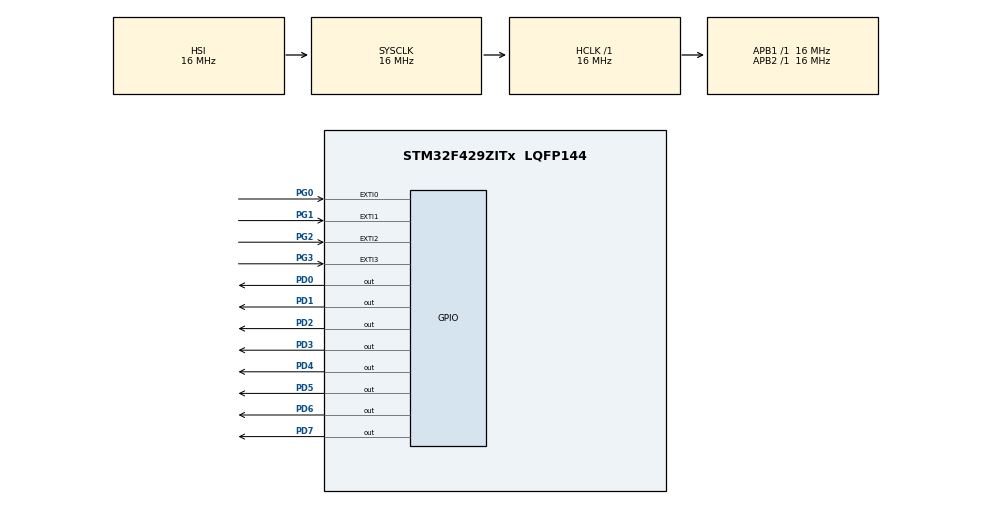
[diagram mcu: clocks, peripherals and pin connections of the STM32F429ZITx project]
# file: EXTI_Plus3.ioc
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Mcu.Family=STM32F4
Mcu.Name=STM32F429ZITx
Mcu.Package=LQFP144
NVIC.EXTI0_IRQn=true\:0\:0\:false\:false\:true\:true\:true\:true
NVIC.EXTI1_IRQn=true\:0\:0\:false\:false\:true\:true\:true\:true
NVIC.EXTI2_IRQn=true\:0\:0\:false\:false\:true\:true\:true\:true
NVIC.EXTI3_IRQn=true\:0\:0\:false\:false\:true\:true\:true\:true
NVIC.PriorityGroup=NVIC_PRIORITYGROUP_4
PA13.Mode=Serial_Wire
PA13.Signal=SYS_JTMS-SWDIO
PA14.Mode=Serial_Wire
PA14.Signal=SYS_JTCK-SWCLK
PD0.GPIO_ModeDefaultOutputPP=GPIO_MODE_OUTPUT_PP
PD0.GPIO_PuPd=GPIO_PULLUP
PD0.GPIO_Speed=GPIO_SPEED_FREQ_HIGH
PD0.PinState=GPIO_PIN_RESET
PD0.Signal=GPIO_Output
PD1.GPIO_ModeDefaultOutputPP=GPIO_MODE_OUTPUT_PP
PD1.GPIO_PuPd=GPIO_PULLUP
PD1.GPIO_Speed=GPIO_SPEED_FREQ_HIGH
PD1.PinState=GPIO_PIN_RESET
PD1.Signal=GPIO_Output
PD2.GPIO_ModeDefaultOutputPP=GPIO_MODE_OUTPUT_PP
PD2.GPIO_PuPd=GPIO_PULLUP
PD2.GPIO_Speed=GPIO_SPEED_FREQ_HIGH
PD2.PinState=GPIO_PIN_RESET
PD2.Signal=GPIO_Output
PD3.GPIO_ModeDefaultOutputPP=GPIO_MODE_OUTPUT_PP
PD3.GPIO_PuPd=GPIO_PULLUP
PD3.GPIO_Speed=GPIO_SPEED_FREQ_HIGH
PD3.PinState=GPIO_PIN_RESET
PD3.Signal=GPIO_Output
PD4.GPIO_ModeDefaultOutputPP=GPIO_MODE_OUTPUT_PP
PD4.GPIO_PuPd=GPIO_PULLUP
PD4.GPIO_Speed=GPIO_SPEED_FREQ_HIGH
PD4.PinState=GPIO_PIN_RESET
PD4.Signal=GPIO_Output
PD5.GPIO_ModeDefaultOutputPP=GPIO_MODE_OUTPUT_PP
PD5.GPIO_PuPd=GPIO_PULLUP
PD5.GPIO_Speed=GPIO_SPEED_FREQ_HIGH
PD5.PinState=GPIO_PIN_RESET
PD5.Signal=GPIO_Output
PD6.GPIO_ModeDefaultOutputPP=GPIO_MODE_OUTPUT_PP
PD6.GPIO_PuPd=GPIO_PULLUP
PD6.GPIO_Speed=GPIO_SPEED_FREQ_HIGH
PD6.PinState=GPIO_PIN_RESET
PD6.Signal=GPIO_Output
PD7.GPIO_ModeDefaultOutputPP=GPIO_MODE_OUTPUT_PP
PD7.GPIO_PuPd=GPIO_PULLUP
PD7.GPIO_Speed=GPIO_SPEED_FREQ_HIGH
PD7.PinState=GPIO_PIN_RESET
PD7.Signal=GPIO_Output
PG0.GPIO_ModeDefaultEXTI=GPIO_MODE_IT_FALLING
PG0.GPIO_PuPd=GPIO_NOPULL
PG0.Signal=GPXTI0
PG1.GPIO_ModeDefaultEXTI=GPIO_MODE_IT_FALLING
PG1.GPIO_PuPd=GPIO_NOPULL
PG1.Signal=GPXTI1
PG2.GPIO_ModeDefaultEXTI=GPIO_MODE_IT_RISING
PG2.GPIO_PuPd=GPIO_NOPULL
PG2.Signal=GPXTI2
PG3.GPIO_ModeDefaultEXTI=GPIO_MODE_IT_RISING
PG3.GPIO_PuPd=GPIO_NOPULL
PG3.Signal=GPXTI3
ProjectManager.HeapSize=0x200
ProjectManager.StackSize=0x400
ProjectManager.TargetToolchain=STM32CubeIDE
RCC.AHBFreq_Value=16000000
RCC.APB1Freq_Value=16000000
RCC.APB2Freq_Value=16000000
RCC.CortexFreq_Value=16000000
RCC.HSE_VALUE=25000000
RCC.HSI_VALUE=16000000
RCC.LSE_VALUE=32768
RCC.SYSCLKFreq_VALUE=16000000
RCC.VCOOutputFreq_Value=192000000
board=custom

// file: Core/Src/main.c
/* USER CODE BEGIN Header */
/**
  ******************************************************************************
  * @file           : main.c
  * @brief          : Main program body
  ******************************************************************************
  * @attention
  *
  * Copyright (c) 2022 STMicroelectronics.
  * All rights reserved.
  *
  * This software is licensed under terms that can be found in the LICENSE file
  * in the root directory of this software component.
  * If no LICENSE file comes with this software, it is provided AS-IS.
  *
  ******************************************************************************
  */
/* USER CODE END Header */
#include "main.h"

/* USER CODE BEGIN PV */
int flag_SW1 = 0, flag_SW2 = 0, flag_SW3 = 0, flag_SW4 = 0;
/* USER CODE END PV */

void SystemClock_Config(void);
static void MX_GPIO_Init(void);
/* USER CODE BEGIN PFP */
void LED_OnOff(int, int);
int speed = 0;
/* USER CODE END PFP */

int main(void)
{
  /* USER CODE BEGIN 1 */
   uint16_t led = 0x01;
  /* USER CODE END 1 */

  /* MCU Configuration--------------------------------------------------------*/

  /* Reset of all peripherals, Initializes the Flash interface and the Systick. */
  HAL_Init();

  /* Configure the system clock */
  SystemClock_Config();

  /* Initialize all configured peripherals */
  MX_GPIO_Init();
  /* USER CODE BEGIN 2 */
  LED_OnOff(LED_ALL, 500);
  /* USER CODE END 2 */

  /* Infinite loop */
  /* USER CODE BEGIN WHILE */

  while (1)
  {
     if(flag_SW1 == 1){
    	 led<<=1;
        if(led>0x80) led=0x01;
        LED_OnOff(led, 300-10*speed);
     }
     if(flag_SW2 == 1){
        led <<= 1;
        if(led>0x80) led=0x01;
        LED_OnOff(led, 300+10*speed);
     }
     if(flag_SW3 == 1){
        led >>= 1;
        if(led<0x01) led=0x80;
        LED_OnOff(led, 300-10*speed);
     }
     if(flag_SW4 == 1){
        led >>= 1;
        if(led<0x01) led=0x80;
        LED_OnOff(led, 300+10*speed);
     }
    /* USER CODE END WHILE */

  }
}

void SystemClock_Config(void)
{
  RCC_OscInitTypeDef RCC_OscInitStruct = {0};
  RCC_ClkInitTypeDef RCC_ClkInitStruct = {0};

  /** Configure the main internal regulator output voltage
  */
  __HAL_RCC_PWR_CLK_ENABLE();
  __HAL_PWR_VOLTAGESCALING_CONFIG(PWR_REGULATOR_VOLTAGE_SCALE3);

  /** Initializes the RCC Oscillators according to the specified parameters
  * in the RCC_OscInitTypeDef structure.
  */
  RCC_OscInitStruct.OscillatorType = RCC_OSCILLATORTYPE_HSI;
  RCC_OscInitStruct.HSIState = RCC_HSI_ON;
  RCC_OscInitStruct.HSICalibrationValue = RCC_HSICALIBRATION_DEFAULT;
  RCC_OscInitStruct.PLL.PLLState = RCC_PLL_NONE;
  if (HAL_RCC_OscConfig(&RCC_OscInitStruct) != HAL_OK)
  {
    Error_Handler();
  }

  /** Initializes the CPU, AHB and APB buses clocks
  */
  RCC_ClkInitStruct.ClockType = RCC_CLOCKTYPE_HCLK|RCC_CLOCKTYPE_SYSCLK
                              |RCC_CLOCKTYPE_PCLK1|RCC_CLOCKTYPE_PCLK2;
  RCC_ClkInitStruct.SYSCLKSource = RCC_SYSCLKSOURCE_HSI;
  RCC_ClkInitStruct.AHBCLKDivider = RCC_SYSCLK_DIV1;
  RCC_ClkInitStruct.APB1CLKDivider = RCC_HCLK_DIV1;
  RCC_ClkInitStruct.APB2CLKDivider = RCC_HCLK_DIV1;

  if (HAL_RCC_ClockConfig(&RCC_ClkInitStruct, FLASH_LATENCY_0) != HAL_OK)
  {
    Error_Handler();
  }
}

static void MX_GPIO_Init(void)
{
  GPIO_InitTypeDef GPIO_InitStruct = {0};

  /* GPIO Ports Clock Enable */
  __HAL_RCC_GPIOG_CLK_ENABLE();
  __HAL_RCC_GPIOA_CLK_ENABLE();
  __HAL_RCC_GPIOD_CLK_ENABLE();

  /*Configure GPIO pin Output Level */
  HAL_GPIO_WritePin(GPIOD, GPIO_PIN_0|GPIO_PIN_1|GPIO_PIN_2|GPIO_PIN_3
                          |GPIO_PIN_4|GPIO_PIN_5|GPIO_PIN_6|GPIO_PIN_7, GPIO_PIN_RESET);

  /*Configure GPIO pins : PG0 PG1 */
  GPIO_InitStruct.Pin = GPIO_PIN_0|GPIO_PIN_1;
  GPIO_InitStruct.Mode = GPIO_MODE_IT_FALLING;
  GPIO_InitStruct.Pull = GPIO_NOPULL;
  HAL_GPIO_Init(GPIOG, &GPIO_InitStruct);

  /*Configure GPIO pins : PG2 PG3 */
  GPIO_InitStruct.Pin = GPIO_PIN_2|GPIO_PIN_3;
  GPIO_InitStruct.Mode = GPIO_MODE_IT_RISING;
  GPIO_InitStruct.Pull = GPIO_NOPULL;
  HAL_GPIO_Init(GPIOG, &GPIO_InitStruct);

  /*Configure GPIO pins : PD0 PD1 PD2 PD3
                           PD4 PD5 PD6 PD7 */
  GPIO_InitStruct.Pin = GPIO_PIN_0|GPIO_PIN_1|GPIO_PIN_2|GPIO_PIN_3
                          |GPIO_PIN_4|GPIO_PIN_5|GPIO_PIN_6|GPIO_PIN_7;
  GPIO_InitStruct.Mode = GPIO_MODE_OUTPUT_PP;
  GPIO_InitStruct.Pull = GPIO_PULLUP;
  GPIO_InitStruct.Speed = GPIO_SPEED_FREQ_HIGH;
  HAL_GPIO_Init(GPIOD, &GPIO_InitStruct);

  /* EXTI interrupt init*/
  HAL_NVIC_SetPriority(EXTI0_IRQn, 0, 0);
  HAL_NVIC_EnableIRQ(EXTI0_IRQn);

  HAL_NVIC_SetPriority(EXTI1_IRQn, 0, 0);
  HAL_NVIC_EnableIRQ(EXTI1_IRQn);

  HAL_NVIC_SetPriority(EXTI2_IRQn, 0, 0);
  HAL_NVIC_EnableIRQ(EXTI2_IRQn);

  HAL_NVIC_SetPriority(EXTI3_IRQn, 0, 0);
  HAL_NVIC_EnableIRQ(EXTI3_IRQn);

}

/* USER CODE BEGIN 4 */
void LED_OnOff(int led, int interval){
   HAL_GPIO_WritePin(GPIO_LED, led, GPIO_PIN_SET);
   HAL_GPIO_WritePin(GPIO_LED_Nucleo, led, GPIO_PIN_SET);

   HAL_Delay(interval);

   HAL_GPIO_WritePin(GPIO_LED, led, GPIO_PIN_RESET);
   HAL_GPIO_WritePin(GPIO_LED_Nucleo, led, GPIO_PIN_RESET);
}
void LED_On(int led, int interval)
{
   HAL_GPIO_WritePin(GPIO_LED, led, GPIO_PIN_SET);
   HAL_GPIO_WritePin(GPIO_LED_Nucleo, led, GPIO_PIN_SET);
   HAL_Delay(interval);
}
void LED_Off(int led)
{
   HAL_GPIO_WritePin(GPIO_LED, led, GPIO_PIN_RESET);
   HAL_GPIO_WritePin(GPIO_LED_Nucleo, led, GPIO_PIN_RESET);
}

void HAL_GPIO_EXTI_Callback(uint16_t GPIO_PIN){
   if(GPIO_PIN == SW1){
	   speed ++;
      flag_SW1 = 1;
      flag_SW2 = 0;
      flag_SW3 = 0;
      flag_SW4 = 0;
   }
   if(GPIO_PIN == SW2){
      flag_SW1 = 0;
      flag_SW2 = 1;
      flag_SW3 = 0;
      flag_SW4 = 0;
   }
   if(GPIO_PIN == SW3){
      flag_SW1 = 0;
      flag_SW2 = 0;
      flag_SW3 = 1;
      flag_SW4 = 0;
   }
   if(GPIO_PIN == SW4){
      flag_SW1 = 0;
      flag_SW2 = 0;
      flag_SW3 = 0;
      flag_SW4 = 1;
   }
}
/* USER CODE END 4 */

void Error_Handler(void)
{
  __disable_irq();
  while (1)
  {
  }
}
